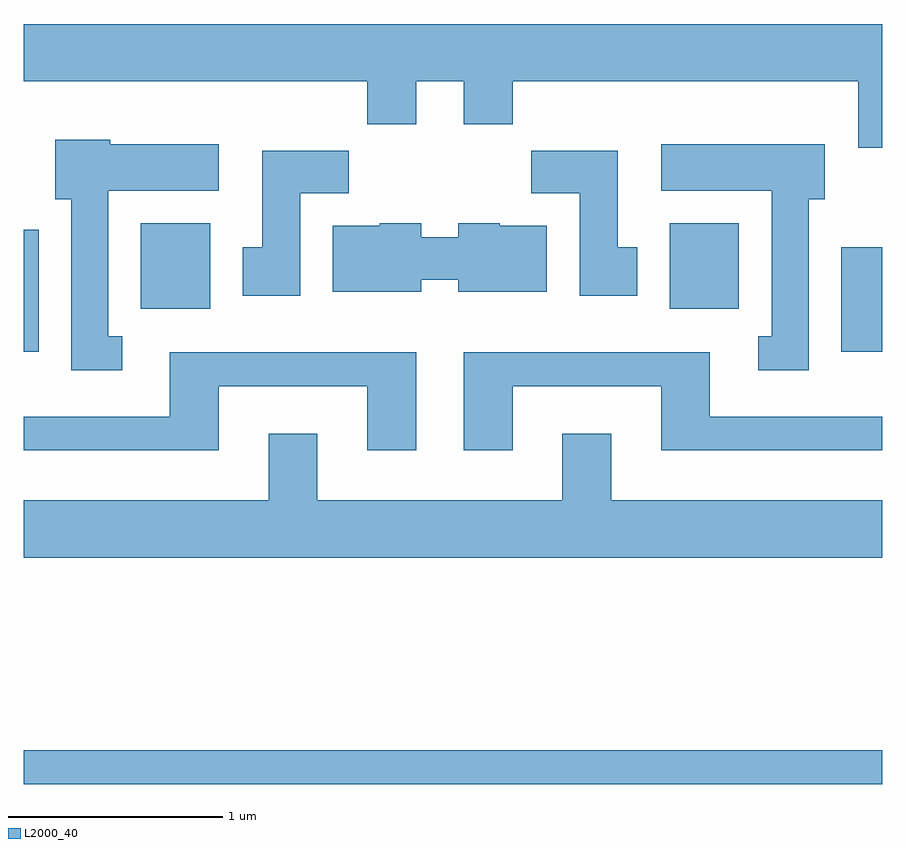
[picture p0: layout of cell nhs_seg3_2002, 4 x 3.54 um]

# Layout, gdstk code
import gdstk
lib = gdstk.Library(unit=1e-6, precision=1e-09)
def R(c, l, rs):  # rectangles x0, y0, x1, y1
    for r in rs: c.add(gdstk.rectangle(r[:2], r[2:], *l))
def P(c, l, *ps):  # polygons
    for p in ps: c.add(gdstk.Polygon(p, *l))
L2000_40 = (2000, 40)

nhs_seg3_2002 = lib.new_cell('nhs_seg3_2002')
R(nhs_seg3_2002, L2000_40, [(243.611,1176.021,247.611,1176.179), (243.611,1178.036,243.679,1178.604), (247.421,1178.036,247.611,1178.524), (244.156,1178.236,244.479,1178.634), (246.621,1178.236,246.944,1178.634)])
P(nhs_seg3_2002, L2000_40, [(247.611,1179.564),(243.611,1179.564),(243.611,1179.296),(245.211,1179.296),(245.211,1179.096),(245.439,1179.096),(245.439,1179.296),(245.661,1179.296),(245.661,1179.096),(245.889,1179.096),(245.889,1179.296),(247.501,1179.296),(247.501,1178.986),(247.611,1178.986)],
  [(244.068,1178.109),(244.004,1178.109),(244.004,1178.786),(244.519,1178.786),(244.519,1179.004),(244.014,1179.004),(244.014,1179.024),(243.756,1179.024),(243.756,1178.746),(243.831,1178.746),(243.831,1177.951),(244.068,1177.951)],
  [(247.269,1178.746),(247.344,1178.746),(247.344,1179.004),(246.581,1179.004),(246.581,1178.786),(247.096,1178.786),(247.096,1178.109),(247.033,1178.109),(247.033,1177.951),(247.269,1177.951)],
  [(244.899,1178.776),(245.124,1178.776),(245.124,1178.974),(244.721,1178.974),(244.721,1178.524),(244.631,1178.524),(244.631,1178.296),(244.899,1178.296)],
  [(246.469,1178.524),(246.379,1178.524),(246.379,1178.974),(245.976,1178.974),(245.976,1178.776),(246.201,1178.776),(246.201,1178.296),(246.469,1178.296)],
  [(245.464,1178.371),(245.636,1178.371),(245.636,1178.316),(246.049,1178.316),(246.049,1178.624),(245.83,1178.624),(245.83,1178.634),(245.636,1178.634),(245.636,1178.569),(245.464,1178.569),(245.464,1178.634),(245.27,1178.634),(245.27,1178.624),(245.051,1178.624),(245.051,1178.316),(245.464,1178.316)],
  [(244.519,1177.876),(245.211,1177.876),(245.211,1177.576),(245.439,1177.576),(245.439,1178.034),(244.291,1178.034),(244.291,1177.734),(243.611,1177.734),(243.611,1177.576),(244.519,1177.576)],
  [(245.889,1177.876),(246.581,1177.876),(246.581,1177.576),(247.611,1177.576),(247.611,1177.734),(246.809,1177.734),(246.809,1178.034),(245.661,1178.034),(245.661,1177.576),(245.889,1177.576)],
  [(247.611,1177.344),(246.349,1177.344),(246.349,1177.654),(246.121,1177.654),(246.121,1177.344),(244.979,1177.344),(244.979,1177.654),(244.751,1177.654),(244.751,1177.344),(243.611,1177.344),(243.611,1177.076),(247.611,1177.076)])

lib.write_gds('nhs_seg3_2002.gds')
